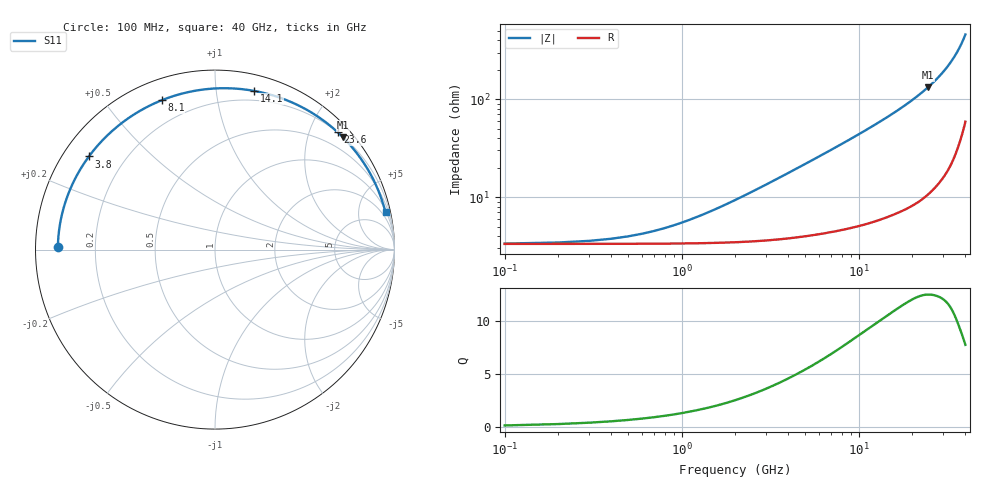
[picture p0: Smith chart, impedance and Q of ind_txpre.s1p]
#  Hz  S  RI  R  50
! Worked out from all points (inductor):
!   400 points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, 100 MHz to 40 GHz, reference 50 ohm
!   read as one part to ground: L = 686 pH near 2.5 GHz
!   highest Q = 12.5 at 24.6 GHz (marker M1), where L = 856 pH
!   S11 on the Smith chart (normalised r, x): 100 MHz: 0.07, +0.01; 3.8 GHz: 0.07, +0.33; 8.1 GHz: 0.09, +0.70; 14.1 GHz: 0.12, +1.27; 23.6 GHz: 0.20, +2.48; 40 GHz: 1.18, +9.12
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1e8  -0.8754 0.0152
9e8  -0.8646 0.1362
1.8e9  -0.8327 0.2671
2.7e9  -0.7828 0.3882
3.8e9  -0.7026 0.5189
4.4e9  -0.6522 0.5814
5.1e9  -0.5893 0.6462
5.8e9  -0.5232 0.7024
6.6e9  -0.4453 0.7567
7.3e9  -0.3763 0.7958
8.1e9  -0.2975 0.8318
9.1e9  -0.2007 0.8646
1.01e10  -0.1072 0.8857
1.1e10  -0.0267 0.8959
1.2e10  0.0579 0.8992
1.41e10  0.2181 0.8842
1.51e10  0.286 0.8693
1.75e10  0.4284 0.8202
2.01e10  0.5538 0.7536
2.18e10  0.6218 0.706
2.36e10  0.6836 0.6539
2.46e10  0.7138 0.6247
2.51e10  0.728 0.6101
2.75e10  0.7877 0.5404
3.01e10  0.8395 0.4664
3.25e10  0.8775 0.3999
3.51e10  0.9095 0.3303
4e10  0.9504 0.2073
